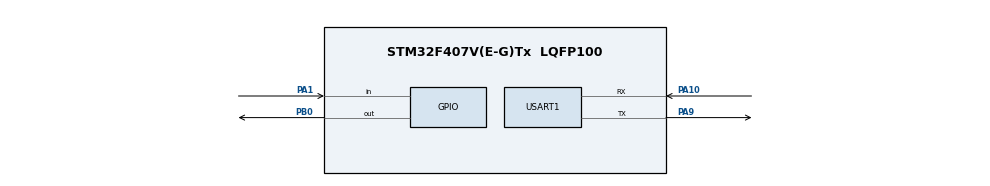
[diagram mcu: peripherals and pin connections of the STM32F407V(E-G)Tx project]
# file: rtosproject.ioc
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FREERTOS.Tasks01=defaultTask,24,128,StartDefaultTask,Default,NULL,Dynamic,NULL,NULL
FREERTOS.configUSE_NEWLIB_REENTRANT=1
Mcu.Family=STM32F4
Mcu.Name=STM32F407V(E-G)Tx
Mcu.Package=LQFP100
NVIC.PriorityGroup=NVIC_PRIORITYGROUP_4
NVIC.TIM2_IRQn=true\:15\:0\:false\:false\:true\:false\:false\:true\:true
NVIC.TimeBase=TIM2_IRQn
NVIC.TimeBaseIP=TIM2
PA1.Signal=GPIO_Input
PA10.Mode=Asynchronous
PA10.Signal=USART1_RX
PA9.Mode=Asynchronous
PA9.Signal=USART1_TX
PB0.Signal=GPIO_Output
ProjectManager.HeapSize=0x200
ProjectManager.StackSize=0x400
ProjectManager.TargetToolchain=STM32CubeIDE
RCC.AHBFreq_Value=16000000
RCC.APB1Freq_Value=16000000
RCC.APB2Freq_Value=16000000
RCC.CortexFreq_Value=16000000
RCC.HSE_VALUE=25000000
RCC.HSI_VALUE=16000000
RCC.LSE_VALUE=32768
RCC.SYSCLKFreq_VALUE=16000000
RCC.VCOOutputFreq_Value=192000000
USART1.VirtualMode=VM_ASYNC
VP_FREERTOS_VS_CMSIS_V2.Mode=CMSIS_V2
VP_SYS_VS_tim2.Mode=TIM2
board=custom

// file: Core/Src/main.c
#include "main.h"
#include "cmsis_os.h"
#include "dht11.h"
#include "string.h"
#include <stdio.h>

UART_HandleTypeDef huart1;
osThreadId_t DHT11TaskHandle;
osThreadId_t UARTTaskHandle;
osThreadId_t LEDTaskHandle;
osSemaphoreId_t dataReadySemaphoreHandle;

const osThreadAttr_t DHT11Task_attributes = {
  .name = "DHT11Task",
  .stack_size = 128 * 4,
  .priority = (osPriority_t) osPriorityHigh,
};

const osThreadAttr_t UARTTask_attributes = {
  .name = "UARTTask",
  .stack_size = 128 * 4,
  .priority = (osPriority_t) osPriorityNormal,
};

const osThreadAttr_t LEDTask_attributes = {
  .name = "LEDTask",
  .stack_size = 128 * 4,
  .priority = (osPriority_t) osPriorityLow,
};

uint8_t dht11_data[5];
uint8_t data_sent_count = 0;
#define MAX_DATA_SENT 10

void SystemClock_Config(void);
static void MX_GPIO_Init(void);
static void MX_USART1_UART_Init(void);
void StartDHT11Task(void *argument);
void StartUARTTask(void *argument);
void StartLEDTask(void *argument);

/* USER CODE BEGIN PFP */
/* Redirect printf to UART */
int _write(int file, char *ptr, int len) {
    HAL_UART_Transmit(&huart1, (uint8_t *)ptr, len, HAL_MAX_DELAY);
    return len;
}
/* USER CODE END PFP */

int main(void)
{
  /* Reset peripherals and initialize Flash & Systick */
  HAL_Init();

  SystemClock_Config();

  /* Initialize peripherals */
  MX_GPIO_Init();
  MX_USART1_UART_Init();

  /* USER CODE BEGIN 2 */
  printf("\r\nSystem Initialized\r\n");
  printf("Starting FreeRTOS scheduler...\r\n");
  /* USER CODE END 2 */

  /* Initialize RTOS kernel */
  osKernelInitialize();

  /* Create semaphore */
  dataReadySemaphoreHandle = osSemaphoreNew(1, 0, NULL);

  /* Create tasks */
  DHT11TaskHandle = osThreadNew(StartDHT11Task, NULL, &DHT11Task_attributes);
  UARTTaskHandle = osThreadNew(StartUARTTask, NULL, &UARTTask_attributes);
  LEDTaskHandle = osThreadNew(StartLEDTask, NULL, &LEDTask_attributes);

  /* Start scheduler */
  osKernelStart();

  /* Infinite loop */
  while (1)
  {
  }
}

void StartDHT11Task(void *argument)
{
  uint8_t temperature, humidity;
  /* USER CODE BEGIN StartDHT11Task */
  printf("DHT11 Task Started\r\n");
  /* USER CODE END StartDHT11Task */

  for (;;)
  {
    if (DHT11_Read(&temperature, &humidity) == HAL_OK)
    {
      dht11_data[0] = temperature;
      dht11_data[1] = humidity;
      osSemaphoreRelease(dataReadySemaphoreHandle);
      /* USER CODE BEGIN DHT11_Read_Success */
      HAL_GPIO_WritePin(GPIOB, GPIO_PIN_0, GPIO_PIN_SET);
      osDelay(10);
      HAL_GPIO_WritePin(GPIOB, GPIO_PIN_0, GPIO_PIN_RESET);
      /* USER CODE END DHT11_Read_Success */
    }
    else
    {
      /* USER CODE BEGIN DHT11_Read_Fail */
      printf("DHT11 Read Failed\r\n");
      /* USER CODE END DHT11_Read_Fail */
    }
    osDelay(2000);
  }
}

void StartUARTTask(void *argument)
{
  char uart_buffer[64];
  /* USER CODE BEGIN StartUARTTask */
  printf("UART Task Started\r\n");
  /* USER CODE END StartUARTTask */

  for (;;)
  {
    if (osSemaphoreAcquire(dataReadySemaphoreHandle, 1000) == osOK)
    {
      int len = snprintf(uart_buffer, sizeof(uart_buffer),
                      "Temp: %dC, Hum: %d%%\r\n",

      if (HAL_UART_Transmit(&huart1, (uint8_t*)uart_buffer, len, 1000) != HAL_OK)
      {
        /* USER CODE BEGIN UART_Error */
        printf("UART Transmit Failed\r\n");
        /* USER CODE END UART_Error */
      }

      data_sent_count++;
      if (data_sent_count >= MAX_DATA_SENT)
      {
        data_sent_count = 0;
        HAL_GPIO_TogglePin(GPIOB, GPIO_PIN_0);
      }
    }
    else
    {
      /* USER CODE BEGIN Semaphore_Timeout */
      printf("Waiting for DHT11 data...\r\n");
      /* USER CODE END Semaphore_Timeout */
    }
  }
}

void StartLEDTask(void *argument)
{
  /* USER CODE BEGIN StartLEDTask */
  printf("LED Task Started\r\n");
  /* USER CODE END StartLEDTask */

  for (;;)
  {
    HAL_GPIO_TogglePin(GPIOB, GPIO_PIN_0);
    osDelay(500);
  }
}

void MX_GPIO_Init(void)
{
  GPIO_InitTypeDef GPIO_InitStruct = {0};

  __HAL_RCC_GPIOB_CLK_ENABLE();

  /*Configure GPIO pin Output Level */
  HAL_GPIO_WritePin(GPIOB, GPIO_PIN_0, GPIO_PIN_RESET);

  GPIO_InitStruct.Pin = GPIO_PIN_0;
  GPIO_InitStruct.Mode = GPIO_MODE_OUTPUT_PP;
  GPIO_InitStruct.Pull = GPIO_NOPULL;
  GPIO_InitStruct.Speed = GPIO_SPEED_FREQ_LOW;
  HAL_GPIO_Init(GPIOB, &GPIO_InitStruct);
}

void MX_USART1_UART_Init(void)
{
  huart1.Instance = USART1;
  huart1.Init.BaudRate = 115200;
  huart1.Init.WordLength = UART_WORDLENGTH_8B;
  huart1.Init.StopBits = UART_STOPBITS_1;
  huart1.Init.Parity = UART_PARITY_NONE;
  huart1.Init.Mode = UART_MODE_TX_RX;
  huart1.Init.HwFlowCtl = UART_HWCONTROL_NONE;
  huart1.Init.OverSampling = UART_OVERSAMPLING_16;
  if (HAL_UART_Init(&huart1) != HAL_OK)
  {
    Error_Handler();
  }
}

void Error_Handler(void)
{
  /* USER CODE BEGIN Error_Handler_Debug */
  __disable_irq();
  while (1)
  {
    HAL_GPIO_TogglePin(GPIOB, GPIO_PIN_0); // Fast blink on error
    osDelay(100);
  }
  /* USER CODE END Error_Handler_Debug */
}

void SystemClock_Config(void)
{
  // Add your clock configuration code
}

/* USER CODE BEGIN 4 */
// Additional user code can be added here
/* USER CODE END 4 */
